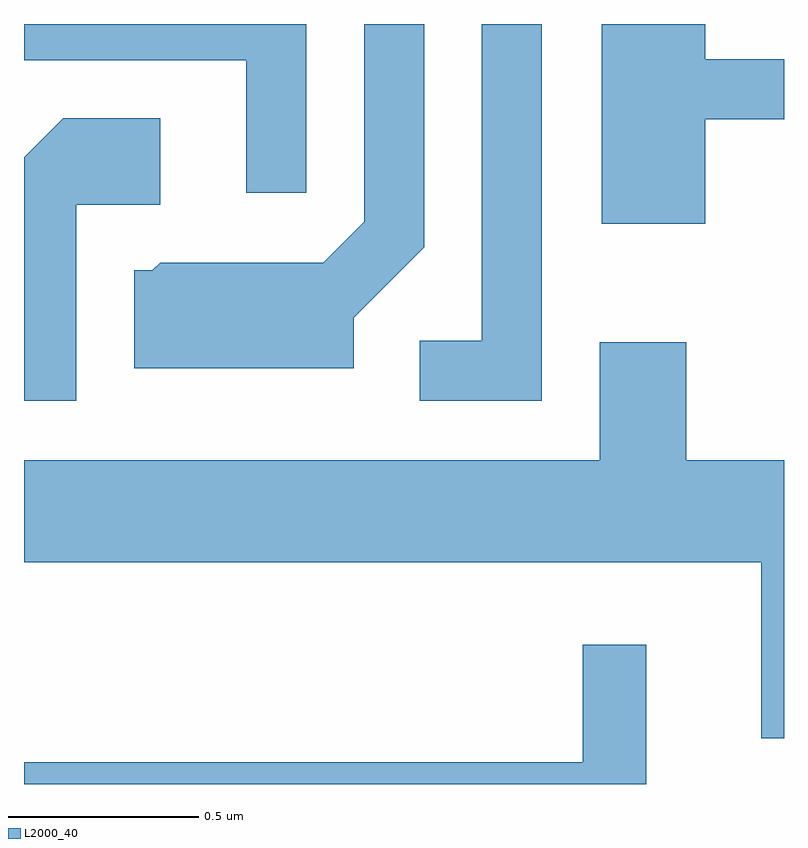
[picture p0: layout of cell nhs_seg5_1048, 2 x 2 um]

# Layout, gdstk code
import gdstk
lib = gdstk.Library(unit=1e-6, precision=1e-09)
def P(c, l, *ps):  # polygons
    for p in ps: c.add(gdstk.Polygon(p, *l))
L2000_40 = (2000, 40)

nhs_seg5_1048 = lib.new_cell('nhs_seg5_1048')
P(nhs_seg5_1048, L2000_40, [(194.404,1486.821),(194.611,1486.821),(194.611,1486.979),(194.404,1486.979),(194.404,1487.072),(194.131,1487.072),(194.131,1486.546),(194.404,1486.546)],
  [(193.974,1487.072),(193.816,1487.072),(193.816,1486.239),(193.653,1486.239),(193.653,1486.081),(193.974,1486.081)],
  [(193.354,1487.072),(192.611,1487.072),(192.611,1486.976),(193.196,1486.976),(193.196,1486.628),(193.354,1486.628)],
  [(193.479,1486.299),(193.664,1486.484),(193.664,1487.072),(193.506,1487.072),(193.506,1486.552),(193.399,1486.444),(192.969,1486.444),(192.949,1486.424),(192.901,1486.424),(192.901,1486.166),(193.479,1486.166)],
  [(192.749,1486.596),(192.969,1486.596),(192.969,1486.824),(192.714,1486.824),(192.611,1486.722),(192.611,1486.081),(192.749,1486.081)],
  [(194.611,1485.924),(194.354,1485.924),(194.354,1486.234),(194.126,1486.234),(194.126,1485.924),(192.611,1485.924),(192.611,1485.656),(194.551,1485.656),(194.551,1485.193),(194.611,1485.193)],
  [(194.249,1485.438),(194.081,1485.438),(194.081,1485.129),(192.611,1485.129),(192.611,1485.072),(194.249,1485.072)])

lib.write_gds('nhs_seg5_1048.gds')
